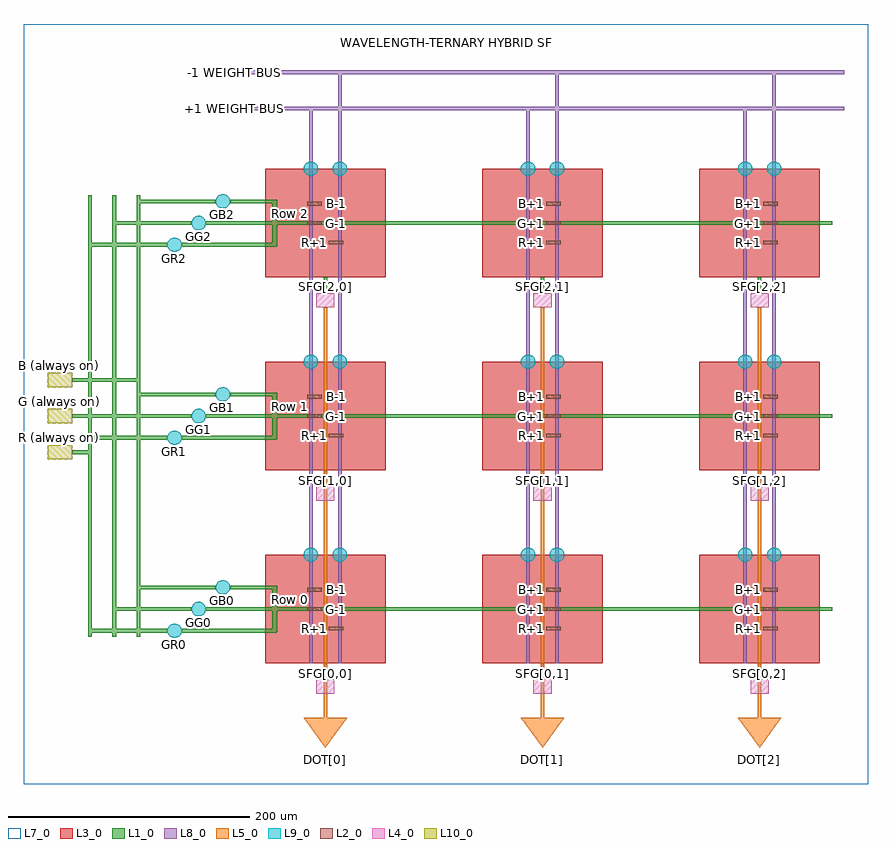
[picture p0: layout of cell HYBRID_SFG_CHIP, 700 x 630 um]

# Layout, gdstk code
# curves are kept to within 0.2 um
import gdstk
lib = gdstk.Library(unit=1e-6, precision=1e-09)
def R(c, l, rs):  # rectangles x0, y0, x1, y1
    for r in rs: c.add(gdstk.rectangle(r[:2], r[2:], *l))
def A(c, l, x, y, w, h, nx, ny, dx, dy):  # array of equal rectangles
    R(c, l, [(x+i*dx, y+j*dy, x+i*dx+w, y+j*dy+h) for i in range(nx) for j in range(ny)])
def P(c, l, *ps):  # polygons
    for p in ps: c.add(gdstk.Polygon(p, *l))
L1_0 = (1, 0)
L2_0 = (2, 0)
L3_0 = (3, 0)
L4_0 = (4, 0)
L5_0 = (5, 0)
L7_0 = (7, 0)
L8_0 = (8, 0)
L9_0 = (9, 0)
L10_0 = (10, 0)

hybrid_sfg_chip = lib.new_cell('HYBRID_SFG_CHIP')
A(hybrid_sfg_chip, L1_0, 328.5, 167, 3, 13, 3, 3, 180, 160)
A(hybrid_sfg_chip, L1_0, 133.5, 202, 3, 366, 3, 1, 20, 0)
A(hybrid_sfg_chip, L1_0, 136.5, 205.5, 62.5, 3, 1, 3, 0, 160)
A(hybrid_sfg_chip, L1_0, 211, 205.5, 75, 3, 1, 3, 0, 160)
A(hybrid_sfg_chip, L1_0, 286, 205.5, 4, 39, 1, 3, 0, 160)
A(hybrid_sfg_chip, L1_0, 156.5, 223.5, 62.5, 3, 1, 3, 0, 160)
A(hybrid_sfg_chip, L1_0, 231, 223.5, 55, 3, 1, 3, 0, 160)
A(hybrid_sfg_chip, L1_0, 290, 223.5, 460, 3, 1, 3, 0, 160)
A(hybrid_sfg_chip, L1_0, 176.5, 241.5, 62.5, 3, 1, 3, 0, 160)
A(hybrid_sfg_chip, L1_0, 251, 241.5, 35, 3, 1, 3, 0, 160)
R(hybrid_sfg_chip, L1_0, [(120,353.5,135,356.5), (120,383.5,155,386.5), (120,413.5,175,416.5)])
A(hybrid_sfg_chip, L2_0, 315, 207.5, 12, 3, 1, 3, 0, 16)
A(hybrid_sfg_chip, L2_0, 333, 207.5, 12, 3, 1, 3, 0, 16)
A(hybrid_sfg_chip, L2_0, 495, 207.5, 12, 3, 1, 3, 0, 16)
A(hybrid_sfg_chip, L2_0, 513, 207.5, 12, 3, 1, 3, 0, 16)
A(hybrid_sfg_chip, L2_0, 675, 207.5, 12, 3, 1, 3, 0, 16)
A(hybrid_sfg_chip, L2_0, 693, 207.5, 12, 3, 1, 3, 0, 16)
A(hybrid_sfg_chip, L2_0, 315, 367.5, 12, 3, 1, 3, 0, 16)
A(hybrid_sfg_chip, L2_0, 333, 367.5, 12, 3, 1, 3, 0, 16)
A(hybrid_sfg_chip, L2_0, 495, 367.5, 12, 3, 1, 3, 0, 16)
A(hybrid_sfg_chip, L2_0, 513, 367.5, 12, 3, 1, 3, 0, 16)
A(hybrid_sfg_chip, L2_0, 675, 367.5, 12, 3, 1, 3, 0, 16)
A(hybrid_sfg_chip, L2_0, 693, 367.5, 12, 3, 1, 3, 0, 16)
A(hybrid_sfg_chip, L2_0, 315, 527.5, 12, 3, 1, 3, 0, 16)
A(hybrid_sfg_chip, L2_0, 333, 527.5, 12, 3, 1, 3, 0, 16)
A(hybrid_sfg_chip, L2_0, 495, 527.5, 12, 3, 1, 3, 0, 16)
A(hybrid_sfg_chip, L2_0, 513, 527.5, 12, 3, 1, 3, 0, 16)
A(hybrid_sfg_chip, L2_0, 675, 527.5, 12, 3, 1, 3, 0, 16)
A(hybrid_sfg_chip, L2_0, 693, 527.5, 12, 3, 1, 3, 0, 16)
A(hybrid_sfg_chip, L3_0, 280, 180, 100, 90, 3, 3, 180, 160)
A(hybrid_sfg_chip, L4_0, 322.5, 155, 15, 12, 3, 3, 180, 160)
A(hybrid_sfg_chip, L5_0, 328.5, 135, 3, 20, 3, 1, 180, 0)
A(hybrid_sfg_chip, L5_0, 328.5, 135, 3, 180, 3, 1, 180, 0)
A(hybrid_sfg_chip, L5_0, 328.5, 135, 3, 340, 3, 1, 180, 0)
P(hybrid_sfg_chip, L5_0, [(312,135),(348,135),(330,110)],
  [(492,135),(528,135),(510,110)],
  [(672,135),(708,135),(690,110)])
R(hybrid_sfg_chip, L7_0, [(80,80,780,710)])
A(hybrid_sfg_chip, L8_0, 316.5, 590, 3, 50, 3, 1, 180, 0)
A(hybrid_sfg_chip, L8_0, 340.5, 590, 3, 80, 3, 1, 180, 0)
R(hybrid_sfg_chip, L8_0, [(316.5,180,319.5,590), (340.5,180,343.5,590), (496.5,180,499.5,590), (520.5,180,523.5,590), (676.5,180,679.5,590), (700.5,180,703.5,590), (260,638.5,760,641.5), (260,668.5,760,671.5)])
P(hybrid_sfg_chip, L9_0, [(211,207),(210.543,209.296),(209.243,211.243),(207.296,212.543),(205,213),(202.704,212.543),(200.757,211.243),(199.457,209.296),(199,207),(199.457,204.704),(200.757,202.757),(202.704,201.457),(205,201),(207.296,201.457),(209.243,202.757),(210.543,204.704)],
  [(211,367),(210.543,369.296),(209.243,371.243),(207.296,372.543),(205,373),(202.704,372.543),(200.757,371.243),(199.457,369.296),(199,367),(199.457,364.704),(200.757,362.757),(202.704,361.457),(205,361),(207.296,361.457),(209.243,362.757),(210.543,364.704)],
  [(211,527),(210.543,529.296),(209.243,531.243),(207.296,532.543),(205,533),(202.704,532.543),(200.757,531.243),(199.457,529.296),(199,527),(199.457,524.704),(200.757,522.757),(202.704,521.457),(205,521),(207.296,521.457),(209.243,522.757),(210.543,524.704)],
  [(231,225),(230.543,227.296),(229.243,229.243),(227.296,230.543),(225,231),(222.704,230.543),(220.757,229.243),(219.457,227.296),(219,225),(219.457,222.704),(220.757,220.757),(222.704,219.457),(225,219),(227.296,219.457),(229.243,220.757),(230.543,222.704)],
  [(231,385),(230.543,387.296),(229.243,389.243),(227.296,390.543),(225,391),(222.704,390.543),(220.757,389.243),(219.457,387.296),(219,385),(219.457,382.704),(220.757,380.757),(222.704,379.457),(225,379),(227.296,379.457),(229.243,380.757),(230.543,382.704)],
  [(231,545),(230.543,547.296),(229.243,549.243),(227.296,550.543),(225,551),(222.704,550.543),(220.757,549.243),(219.457,547.296),(219,545),(219.457,542.704),(220.757,540.757),(222.704,539.457),(225,539),(227.296,539.457),(229.243,540.757),(230.543,542.704)],
  [(251,243),(250.543,245.296),(249.243,247.243),(247.296,248.543),(245,249),(242.704,248.543),(240.757,247.243),(239.457,245.296),(239,243),(239.457,240.704),(240.757,238.757),(242.704,237.457),(245,237),(247.296,237.457),(249.243,238.757),(250.543,240.704)],
  [(251,403),(250.543,405.296),(249.243,407.243),(247.296,408.543),(245,409),(242.704,408.543),(240.757,407.243),(239.457,405.296),(239,403),(239.457,400.704),(240.757,398.757),(242.704,397.457),(245,397),(247.296,397.457),(249.243,398.757),(250.543,400.704)],
  [(251,563),(250.543,565.296),(249.243,567.243),(247.296,568.543),(245,569),(242.704,568.543),(240.757,567.243),(239.457,565.296),(239,563),(239.457,560.704),(240.757,558.757),(242.704,557.457),(245,557),(247.296,557.457),(249.243,558.757),(250.543,560.704)],
  [(324,270),(323.543,272.296),(322.243,274.243),(320.296,275.543),(318,276),(315.704,275.543),(313.757,274.243),(312.457,272.296),(312,270),(312.457,267.704),(313.757,265.757),(315.704,264.457),(318,264),(320.296,264.457),(322.243,265.757),(323.543,267.704)],
  [(348,270),(347.543,272.296),(346.243,274.243),(344.296,275.543),(342,276),(339.704,275.543),(337.757,274.243),(336.457,272.296),(336,270),(336.457,267.704),(337.757,265.757),(339.704,264.457),(342,264),(344.296,264.457),(346.243,265.757),(347.543,267.704)],
  [(504,270),(503.543,272.296),(502.243,274.243),(500.296,275.543),(498,276),(495.704,275.543),(493.757,274.243),(492.457,272.296),(492,270),(492.457,267.704),(493.757,265.757),(495.704,264.457),(498,264),(500.296,264.457),(502.243,265.757),(503.543,267.704)],
  [(528,270),(527.543,272.296),(526.243,274.243),(524.296,275.543),(522,276),(519.704,275.543),(517.757,274.243),(516.457,272.296),(516,270),(516.457,267.704),(517.757,265.757),(519.704,264.457),(522,264),(524.296,264.457),(526.243,265.757),(527.543,267.704)],
  [(684,270),(683.543,272.296),(682.243,274.243),(680.296,275.543),(678,276),(675.704,275.543),(673.757,274.243),(672.457,272.296),(672,270),(672.457,267.704),(673.757,265.757),(675.704,264.457),(678,264),(680.296,264.457),(682.243,265.757),(683.543,267.704)],
  [(708,270),(707.543,272.296),(706.243,274.243),(704.296,275.543),(702,276),(699.704,275.543),(697.757,274.243),(696.457,272.296),(696,270),(696.457,267.704),(697.757,265.757),(699.704,264.457),(702,264),(704.296,264.457),(706.243,265.757),(707.543,267.704)],
  [(324,430),(323.543,432.296),(322.243,434.243),(320.296,435.543),(318,436),(315.704,435.543),(313.757,434.243),(312.457,432.296),(312,430),(312.457,427.704),(313.757,425.757),(315.704,424.457),(318,424),(320.296,424.457),(322.243,425.757),(323.543,427.704)],
  [(348,430),(347.543,432.296),(346.243,434.243),(344.296,435.543),(342,436),(339.704,435.543),(337.757,434.243),(336.457,432.296),(336,430),(336.457,427.704),(337.757,425.757),(339.704,424.457),(342,424),(344.296,424.457),(346.243,425.757),(347.543,427.704)],
  [(504,430),(503.543,432.296),(502.243,434.243),(500.296,435.543),(498,436),(495.704,435.543),(493.757,434.243),(492.457,432.296),(492,430),(492.457,427.704),(493.757,425.757),(495.704,424.457),(498,424),(500.296,424.457),(502.243,425.757),(503.543,427.704)],
  [(528,430),(527.543,432.296),(526.243,434.243),(524.296,435.543),(522,436),(519.704,435.543),(517.757,434.243),(516.457,432.296),(516,430),(516.457,427.704),(517.757,425.757),(519.704,424.457),(522,424),(524.296,424.457),(526.243,425.757),(527.543,427.704)],
  [(684,430),(683.543,432.296),(682.243,434.243),(680.296,435.543),(678,436),(675.704,435.543),(673.757,434.243),(672.457,432.296),(672,430),(672.457,427.704),(673.757,425.757),(675.704,424.457),(678,424),(680.296,424.457),(682.243,425.757),(683.543,427.704)],
  [(708,430),(707.543,432.296),(706.243,434.243),(704.296,435.543),(702,436),(699.704,435.543),(697.757,434.243),(696.457,432.296),(696,430),(696.457,427.704),(697.757,425.757),(699.704,424.457),(702,424),(704.296,424.457),(706.243,425.757),(707.543,427.704)],
  [(324,590),(323.543,592.296),(322.243,594.243),(320.296,595.543),(318,596),(315.704,595.543),(313.757,594.243),(312.457,592.296),(312,590),(312.457,587.704),(313.757,585.757),(315.704,584.457),(318,584),(320.296,584.457),(322.243,585.757),(323.543,587.704)],
  [(348,590),(347.543,592.296),(346.243,594.243),(344.296,595.543),(342,596),(339.704,595.543),(337.757,594.243),(336.457,592.296),(336,590),(336.457,587.704),(337.757,585.757),(339.704,584.457),(342,584),(344.296,584.457),(346.243,585.757),(347.543,587.704)],
  [(504,590),(503.543,592.296),(502.243,594.243),(500.296,595.543),(498,596),(495.704,595.543),(493.757,594.243),(492.457,592.296),(492,590),(492.457,587.704),(493.757,585.757),(495.704,584.457),(498,584),(500.296,584.457),(502.243,585.757),(503.543,587.704)],
  [(528,590),(527.543,592.296),(526.243,594.243),(524.296,595.543),(522,596),(519.704,595.543),(517.757,594.243),(516.457,592.296),(516,590),(516.457,587.704),(517.757,585.757),(519.704,584.457),(522,584),(524.296,584.457),(526.243,585.757),(527.543,587.704)],
  [(684,590),(683.543,592.296),(682.243,594.243),(680.296,595.543),(678,596),(675.704,595.543),(673.757,594.243),(672.457,592.296),(672,590),(672.457,587.704),(673.757,585.757),(675.704,584.457),(678,584),(680.296,584.457),(682.243,585.757),(683.543,587.704)],
  [(708,590),(707.543,592.296),(706.243,594.243),(704.296,595.543),(702,596),(699.704,595.543),(697.757,594.243),(696.457,592.296),(696,590),(696.457,587.704),(697.757,585.757),(699.704,584.457),(702,584),(704.296,584.457),(706.243,585.757),(707.543,587.704)])
A(hybrid_sfg_chip, L10_0, 100, 349, 20, 12, 1, 3, 0, 30)
hybrid_sfg_chip.add(gdstk.Label('R (always on)', (110,367), layer=6, texttype=0))
hybrid_sfg_chip.add(gdstk.Label('GR0', (205,196), layer=6, texttype=0))
hybrid_sfg_chip.add(gdstk.Label('GR1', (205,356), layer=6, texttype=0))
hybrid_sfg_chip.add(gdstk.Label('GR2', (205,516), layer=6, texttype=0))
hybrid_sfg_chip.add(gdstk.Label('G (always on)', (110,397), layer=6, texttype=0))
hybrid_sfg_chip.add(gdstk.Label('GG0', (225,214), layer=6, texttype=0))
hybrid_sfg_chip.add(gdstk.Label('GG1', (225,374), layer=6, texttype=0))
hybrid_sfg_chip.add(gdstk.Label('GG2', (225,534), layer=6, texttype=0))
hybrid_sfg_chip.add(gdstk.Label('B (always on)', (110,427), layer=6, texttype=0))
hybrid_sfg_chip.add(gdstk.Label('GB0', (245,232), layer=6, texttype=0))
hybrid_sfg_chip.add(gdstk.Label('GB1', (245,392), layer=6, texttype=0))
hybrid_sfg_chip.add(gdstk.Label('GB2', (245,552), layer=6, texttype=0))
hybrid_sfg_chip.add(gdstk.Label('Row 0', (301,233), layer=6, texttype=0))
hybrid_sfg_chip.add(gdstk.Label('Row 1', (301,393), layer=6, texttype=0))
hybrid_sfg_chip.add(gdstk.Label('Row 2', (301,553), layer=6, texttype=0))
hybrid_sfg_chip.add(gdstk.Label('+1 WEIGHT BUS', (255,640), layer=6, texttype=0))
hybrid_sfg_chip.add(gdstk.Label('-1 WEIGHT BUS', (255,670), layer=6, texttype=0))
hybrid_sfg_chip.add(gdstk.Label('R+1', (321,209), layer=6, texttype=0))
hybrid_sfg_chip.add(gdstk.Label('R-1', (339,209), layer=6, texttype=0))
hybrid_sfg_chip.add(gdstk.Label('G+1', (321,225), layer=6, texttype=0))
hybrid_sfg_chip.add(gdstk.Label('G-1', (339,225), layer=6, texttype=0))
hybrid_sfg_chip.add(gdstk.Label('B+1', (321,241), layer=6, texttype=0))
hybrid_sfg_chip.add(gdstk.Label('B-1', (339,241), layer=6, texttype=0))
hybrid_sfg_chip.add(gdstk.Label('SFG[0,0]', (330,172), layer=6, texttype=0))
hybrid_sfg_chip.add(gdstk.Label('R+1', (501,209), layer=6, texttype=0))
hybrid_sfg_chip.add(gdstk.Label('R-1', (519,209), layer=6, texttype=0))
hybrid_sfg_chip.add(gdstk.Label('G+1', (501,225), layer=6, texttype=0))
hybrid_sfg_chip.add(gdstk.Label('G-1', (519,225), layer=6, texttype=0))
hybrid_sfg_chip.add(gdstk.Label('B+1', (501,241), layer=6, texttype=0))
hybrid_sfg_chip.add(gdstk.Label('B-1', (519,241), layer=6, texttype=0))
hybrid_sfg_chip.add(gdstk.Label('SFG[0,1]', (510,172), layer=6, texttype=0))
hybrid_sfg_chip.add(gdstk.Label('R+1', (681,209), layer=6, texttype=0))
hybrid_sfg_chip.add(gdstk.Label('R-1', (699,209), layer=6, texttype=0))
hybrid_sfg_chip.add(gdstk.Label('G+1', (681,225), layer=6, texttype=0))
hybrid_sfg_chip.add(gdstk.Label('G-1', (699,225), layer=6, texttype=0))
hybrid_sfg_chip.add(gdstk.Label('B+1', (681,241), layer=6, texttype=0))
hybrid_sfg_chip.add(gdstk.Label('B-1', (699,241), layer=6, texttype=0))
hybrid_sfg_chip.add(gdstk.Label('SFG[0,2]', (690,172), layer=6, texttype=0))
hybrid_sfg_chip.add(gdstk.Label('R+1', (321,369), layer=6, texttype=0))
hybrid_sfg_chip.add(gdstk.Label('R-1', (339,369), layer=6, texttype=0))
hybrid_sfg_chip.add(gdstk.Label('G+1', (321,385), layer=6, texttype=0))
hybrid_sfg_chip.add(gdstk.Label('G-1', (339,385), layer=6, texttype=0))
hybrid_sfg_chip.add(gdstk.Label('B+1', (321,401), layer=6, texttype=0))
hybrid_sfg_chip.add(gdstk.Label('B-1', (339,401), layer=6, texttype=0))
hybrid_sfg_chip.add(gdstk.Label('SFG[1,0]', (330,332), layer=6, texttype=0))
hybrid_sfg_chip.add(gdstk.Label('R+1', (501,369), layer=6, texttype=0))
hybrid_sfg_chip.add(gdstk.Label('R-1', (519,369), layer=6, texttype=0))
hybrid_sfg_chip.add(gdstk.Label('G+1', (501,385), layer=6, texttype=0))
hybrid_sfg_chip.add(gdstk.Label('G-1', (519,385), layer=6, texttype=0))
hybrid_sfg_chip.add(gdstk.Label('B+1', (501,401), layer=6, texttype=0))
hybrid_sfg_chip.add(gdstk.Label('B-1', (519,401), layer=6, texttype=0))
hybrid_sfg_chip.add(gdstk.Label('SFG[1,1]', (510,332), layer=6, texttype=0))
hybrid_sfg_chip.add(gdstk.Label('R+1', (681,369), layer=6, texttype=0))
hybrid_sfg_chip.add(gdstk.Label('R-1', (699,369), layer=6, texttype=0))
hybrid_sfg_chip.add(gdstk.Label('G+1', (681,385), layer=6, texttype=0))
hybrid_sfg_chip.add(gdstk.Label('G-1', (699,385), layer=6, texttype=0))
hybrid_sfg_chip.add(gdstk.Label('B+1', (681,401), layer=6, texttype=0))
hybrid_sfg_chip.add(gdstk.Label('B-1', (699,401), layer=6, texttype=0))
hybrid_sfg_chip.add(gdstk.Label('SFG[1,2]', (690,332), layer=6, texttype=0))
hybrid_sfg_chip.add(gdstk.Label('R+1', (321,529), layer=6, texttype=0))
hybrid_sfg_chip.add(gdstk.Label('R-1', (339,529), layer=6, texttype=0))
hybrid_sfg_chip.add(gdstk.Label('G+1', (321,545), layer=6, texttype=0))
hybrid_sfg_chip.add(gdstk.Label('G-1', (339,545), layer=6, texttype=0))
hybrid_sfg_chip.add(gdstk.Label('B+1', (321,561), layer=6, texttype=0))
hybrid_sfg_chip.add(gdstk.Label('B-1', (339,561), layer=6, texttype=0))
hybrid_sfg_chip.add(gdstk.Label('SFG[2,0]', (330,492), layer=6, texttype=0))
hybrid_sfg_chip.add(gdstk.Label('R+1', (501,529), layer=6, texttype=0))
hybrid_sfg_chip.add(gdstk.Label('R-1', (519,529), layer=6, texttype=0))
hybrid_sfg_chip.add(gdstk.Label('G+1', (501,545), layer=6, texttype=0))
hybrid_sfg_chip.add(gdstk.Label('G-1', (519,545), layer=6, texttype=0))
hybrid_sfg_chip.add(gdstk.Label('B+1', (501,561), layer=6, texttype=0))
hybrid_sfg_chip.add(gdstk.Label('B-1', (519,561), layer=6, texttype=0))
hybrid_sfg_chip.add(gdstk.Label('SFG[2,1]', (510,492), layer=6, texttype=0))
hybrid_sfg_chip.add(gdstk.Label('R+1', (681,529), layer=6, texttype=0))
hybrid_sfg_chip.add(gdstk.Label('R-1', (699,529), layer=6, texttype=0))
hybrid_sfg_chip.add(gdstk.Label('G+1', (681,545), layer=6, texttype=0))
hybrid_sfg_chip.add(gdstk.Label('G-1', (699,545), layer=6, texttype=0))
hybrid_sfg_chip.add(gdstk.Label('B+1', (681,561), layer=6, texttype=0))
hybrid_sfg_chip.add(gdstk.Label('B-1', (699,561), layer=6, texttype=0))
hybrid_sfg_chip.add(gdstk.Label('SFG[2,2]', (690,492), layer=6, texttype=0))
hybrid_sfg_chip.add(gdstk.Label('DOT[0]', (330,100), layer=6, texttype=0))
hybrid_sfg_chip.add(gdstk.Label('DOT[1]', (510,100), layer=6, texttype=0))
hybrid_sfg_chip.add(gdstk.Label('DOT[2]', (690,100), layer=6, texttype=0))
hybrid_sfg_chip.add(gdstk.Label('WAVELENGTH-TERNARY HYBRID SFG CHIP', (430,695), layer=6, texttype=0))

lib.write_gds('HYBRID_SFG_CHIP.gds')
